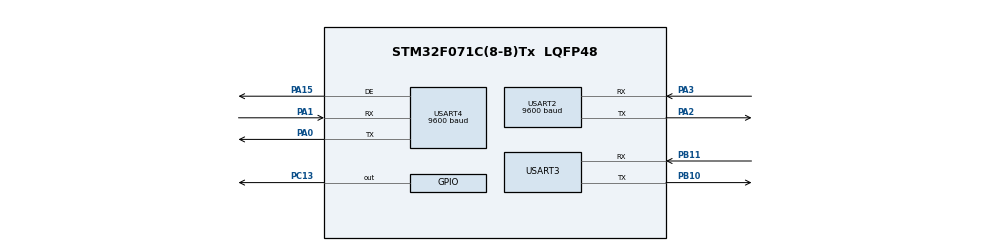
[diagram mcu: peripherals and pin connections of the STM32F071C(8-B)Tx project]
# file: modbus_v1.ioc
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Mcu.Family=STM32F0
Mcu.Name=STM32F071C(8-B)Tx
Mcu.Package=LQFP48
NVIC.TIM2_IRQn=true\:0\:0\:false\:false\:true\:true\:true\:true
NVIC.TIM3_IRQn=true\:0\:0\:false\:false\:true\:true\:true\:true
NVIC.USART2_IRQn=true\:0\:0\:false\:false\:true\:true\:true\:true
NVIC.USART3_4_IRQn=true\:0\:0\:false\:false\:true\:true\:true\:true
PA0.Mode=Asynchronous
PA0.Signal=USART4_TX
PA1.Mode=Asynchronous
PA1.Signal=USART4_RX
PA15.Mode=Hardware Flow Control (RS485)
PA15.Signal=USART4_DE
PA2.Mode=Asynchronous
PA2.Signal=USART2_TX
PA3.Mode=Asynchronous
PA3.Signal=USART2_RX
PB10.Mode=Asynchronous
PB10.Signal=USART3_TX
PB11.Mode=Asynchronous
PB11.Signal=USART3_RX
PC13.Signal=GPIO_Output
ProjectManager.HeapSize=0x200
ProjectManager.StackSize=0x400
ProjectManager.TargetToolchain=CMake
TIM2.Period=999
TIM2.Prescaler=7999
TIM3.Period=1
TIM3.Prescaler=7999
USART2.BaudRate=9600
USART2.VirtualMode-Asynchronous=VM_ASYNC
USART3.VirtualMode-Asynchronous=VM_ASYNC
USART4.BaudRate=9600
USART4.VirtualMode-Asynchronous=VM_ASYNC
USART4.VirtualMode-Hardware\ Flow\ Control\ (RS485)=VM_ASYNC
VP_TIM2_VS_ClockSourceINT.Mode=Internal
VP_TIM3_VS_ClockSourceINT.Mode=Internal
board=custom

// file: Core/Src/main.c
/* USER CODE BEGIN Header */
/**
 ******************************************************************************
 * @file           : main.c
 * @brief          : Main program body
 ******************************************************************************
 * @attention
 *
 * Copyright (c) 2025 STMicroelectronics.
 * All rights reserved.
 *
 * This software is licensed under terms that can be found in the LICENSE file
 * in the root directory of this software component.
 * If no LICENSE file comes with this software, it is provided AS-IS.
 *
 ******************************************************************************
 */
/* USER CODE END Header */
#include "main.h"

TIM_HandleTypeDef htim2;
TIM_HandleTypeDef htim3;

UART_HandleTypeDef huart2;
UART_HandleTypeDef huart3;
UART_HandleTypeDef huart4;
DMA_HandleTypeDef hdma_usart2_rx;
DMA_HandleTypeDef hdma_usart3_rx;
DMA_HandleTypeDef hdma_usart4_rx;

void SystemClock_Config(void);
static void MX_GPIO_Init(void);
static void MX_DMA_Init(void);
static void MX_USART4_UART_Init(void);
static void MX_TIM2_Init(void);
static void MX_TIM3_Init(void);
static void MX_USART2_UART_Init(void);
static void MX_USART3_UART_Init(void);
/* USER CODE BEGIN PFP */
void _Error_Handler(char *file, int line)
{
  printf("-- Error Handle : [%s][%d]\n", file, line);

  while (1)
  {
  }
}
/* USER CODE END PFP */

/* USER CODE BEGIN 0 */
uint8_t src[] = {0, 1, 2, 3, 4, 5, 6, 7, 8, 9};
uint8_t dst[10];
/* USER CODE END 0 */

int main(void)
{

  /* MCU Configuration--------------------------------------------------------*/

  /* Reset of all peripherals, Initializes the Flash interface and the Systick. */
  HAL_Init();

  /* Configure the system clock */
  SystemClock_Config();

  /* Initialize all configured peripherals */
  MX_GPIO_Init();
  MX_DMA_Init();
  MX_USART4_UART_Init();
  MX_TIM2_Init();
  MX_TIM3_Init();
  MX_USART2_UART_Init();
  MX_USART3_UART_Init();
  /* USER CODE BEGIN 2 */
  parser_modbus_init();
  uart_interrut_init();
  timer_init();
  setup_data_init();
  /* USER CODE END 2 */

  /* Infinite loop */
  while (1)
  {
    /* USER CODE BEGIN 3 */
    if (g_tick_sec_1 == ENABLE)
    {
      g_tick_sec_1 = DISABLE;

      parser_modbus_handle();
      sensor_handle();

      // CHECK
      char buffer[50];
      sprintf(buffer, "%lu,%lu,%lu\r\n", g_sensor_current.dust.pm_01_0, g_sensor_current.dust.pm_02_5, g_sensor_current.dust.pm_10_0);
      uint16_t length = strlen(buffer);
      HAL_UART_Transmit(&huart3, (uint8_t *)buffer, length, 1000);
    }

    if (g_timer_ms_1 == ENABLE)
    {
      g_timer_ms_1 = DISABLE;
    }

    // HAL_UART_Transmit(&huart3, (uint8_t *)"Hello, World!\r\n", 15, 1000);
    // HAL_UART_Transmit(&huart2, (uint8_t *)"Hello, World!\r\n", 15, 1000);
    // printf("hi\r\n");
  }
  /* USER CODE END 3 */
}

void SystemClock_Config(void)
{
  RCC_OscInitTypeDef RCC_OscInitStruct = {0};
  RCC_ClkInitTypeDef RCC_ClkInitStruct = {0};
  RCC_PeriphCLKInitTypeDef PeriphClkInit = {0};

  /** Initializes the RCC Oscillators according to the specified parameters
   * in the RCC_OscInitTypeDef structure.
   */
  RCC_OscInitStruct.OscillatorType = RCC_OSCILLATORTYPE_HSI;
  RCC_OscInitStruct.HSIState = RCC_HSI_ON;
  RCC_OscInitStruct.HSICalibrationValue = RCC_HSICALIBRATION_DEFAULT;
  RCC_OscInitStruct.PLL.PLLState = RCC_PLL_NONE;
  if (HAL_RCC_OscConfig(&RCC_OscInitStruct) != HAL_OK)
  {
    Error_Handler();
  }

  /** Initializes the CPU, AHB and APB buses clocks
   */
  RCC_ClkInitStruct.ClockType = RCC_CLOCKTYPE_HCLK | RCC_CLOCKTYPE_SYSCLK | RCC_CLOCKTYPE_PCLK1;
  RCC_ClkInitStruct.SYSCLKSource = RCC_SYSCLKSOURCE_HSI;
  RCC_ClkInitStruct.AHBCLKDivider = RCC_SYSCLK_DIV1;
  RCC_ClkInitStruct.APB1CLKDivider = RCC_HCLK_DIV1;

  if (HAL_RCC_ClockConfig(&RCC_ClkInitStruct, FLASH_LATENCY_0) != HAL_OK)
  {
    Error_Handler();
  }
  PeriphClkInit.PeriphClockSelection = RCC_PERIPHCLK_USART2;
  PeriphClkInit.Usart2ClockSelection = RCC_USART2CLKSOURCE_PCLK1;
  if (HAL_RCCEx_PeriphCLKConfig(&PeriphClkInit) != HAL_OK)
  {
    Error_Handler();
  }
}

static void MX_TIM2_Init(void)
{

  TIM_ClockConfigTypeDef sClockSourceConfig = {0};
  TIM_MasterConfigTypeDef sMasterConfig = {0};

  htim2.Instance = TIM2;
  htim2.Init.Prescaler = 7999;
  htim2.Init.CounterMode = TIM_COUNTERMODE_UP;
  htim2.Init.Period = 999;
  htim2.Init.ClockDivision = TIM_CLOCKDIVISION_DIV1;
  htim2.Init.AutoReloadPreload = TIM_AUTORELOAD_PRELOAD_DISABLE;
  if (HAL_TIM_Base_Init(&htim2) != HAL_OK)
  {
    Error_Handler();
  }
  sClockSourceConfig.ClockSource = TIM_CLOCKSOURCE_INTERNAL;
  if (HAL_TIM_ConfigClockSource(&htim2, &sClockSourceConfig) != HAL_OK)
  {
    Error_Handler();
  }
  sMasterConfig.MasterOutputTrigger = TIM_TRGO_RESET;
  sMasterConfig.MasterSlaveMode = TIM_MASTERSLAVEMODE_DISABLE;
  if (HAL_TIMEx_MasterConfigSynchronization(&htim2, &sMasterConfig) != HAL_OK)
  {
    Error_Handler();
  }
}

static void MX_TIM3_Init(void)
{

  TIM_ClockConfigTypeDef sClockSourceConfig = {0};
  TIM_MasterConfigTypeDef sMasterConfig = {0};

  htim3.Instance = TIM3;
  htim3.Init.Prescaler = 7999;
  htim3.Init.CounterMode = TIM_COUNTERMODE_UP;
  htim3.Init.Period = 0;
  htim3.Init.ClockDivision = TIM_CLOCKDIVISION_DIV1;
  htim3.Init.AutoReloadPreload = TIM_AUTORELOAD_PRELOAD_DISABLE;
  if (HAL_TIM_Base_Init(&htim3) != HAL_OK)
  {
    Error_Handler();
  }
  sClockSourceConfig.ClockSource = TIM_CLOCKSOURCE_INTERNAL;
  if (HAL_TIM_ConfigClockSource(&htim3, &sClockSourceConfig) != HAL_OK)
  {
    Error_Handler();
  }
  sMasterConfig.MasterOutputTrigger = TIM_TRGO_RESET;
  sMasterConfig.MasterSlaveMode = TIM_MASTERSLAVEMODE_DISABLE;
  if (HAL_TIMEx_MasterConfigSynchronization(&htim3, &sMasterConfig) != HAL_OK)
  {
    Error_Handler();
  }
}

static void MX_USART2_UART_Init(void)
{

  huart2.Instance = USART2;
  huart2.Init.BaudRate = 9600;
  huart2.Init.WordLength = UART_WORDLENGTH_8B;
  huart2.Init.StopBits = UART_STOPBITS_1;
  huart2.Init.Parity = UART_PARITY_NONE;
  huart2.Init.Mode = UART_MODE_TX_RX;
  huart2.Init.HwFlowCtl = UART_HWCONTROL_NONE;
  huart2.Init.OverSampling = UART_OVERSAMPLING_16;
  huart2.Init.OneBitSampling = UART_ONE_BIT_SAMPLE_DISABLE;
  huart2.AdvancedInit.AdvFeatureInit = UART_ADVFEATURE_NO_INIT;
  if (HAL_UART_Init(&huart2) != HAL_OK)
  {
    Error_Handler();
  }
}

static void MX_USART3_UART_Init(void)
{

  huart3.Instance = USART3;
  huart3.Init.BaudRate = 9600;
  huart3.Init.WordLength = UART_WORDLENGTH_8B;
  huart3.Init.StopBits = UART_STOPBITS_1;
  huart3.Init.Parity = UART_PARITY_NONE;
  huart3.Init.Mode = UART_MODE_TX_RX;
  huart3.Init.HwFlowCtl = UART_HWCONTROL_NONE;
  huart3.Init.OverSampling = UART_OVERSAMPLING_16;
  huart3.Init.OneBitSampling = UART_ONE_BIT_SAMPLE_DISABLE;
  huart3.AdvancedInit.AdvFeatureInit = UART_ADVFEATURE_NO_INIT;
  if (HAL_UART_Init(&huart3) != HAL_OK)
  {
    Error_Handler();
  }
}

static void MX_USART4_UART_Init(void)
{

  huart4.Instance = USART4;
  huart4.Init.BaudRate = 9600;
  huart4.Init.WordLength = UART_WORDLENGTH_8B;
  huart4.Init.StopBits = UART_STOPBITS_1;
  huart4.Init.Parity = UART_PARITY_NONE;
  huart4.Init.Mode = UART_MODE_TX_RX;
  huart4.Init.HwFlowCtl = UART_HWCONTROL_NONE;
  huart4.Init.OverSampling = UART_OVERSAMPLING_16;
  huart4.Init.OneBitSampling = UART_ONE_BIT_SAMPLE_DISABLE;
  huart4.AdvancedInit.AdvFeatureInit = UART_ADVFEATURE_NO_INIT;
  if (HAL_RS485Ex_Init(&huart4, UART_DE_POLARITY_HIGH, 0, 0) != HAL_OK)
  {
    Error_Handler();
  }
}

static void MX_DMA_Init(void)
{

  /* DMA controller clock enable */
  __HAL_RCC_DMA1_CLK_ENABLE();

  /* DMA interrupt init */
  /* DMA1_Channel2_3_IRQn interrupt configuration */
  HAL_NVIC_SetPriority(DMA1_Channel2_3_IRQn, 0, 0);
  HAL_NVIC_EnableIRQ(DMA1_Channel2_3_IRQn);
  /* DMA1_Channel4_5_6_7_IRQn interrupt configuration */
  HAL_NVIC_SetPriority(DMA1_Channel4_5_6_7_IRQn, 0, 0);
  HAL_NVIC_EnableIRQ(DMA1_Channel4_5_6_7_IRQn);
}

static void MX_GPIO_Init(void)
{
  GPIO_InitTypeDef GPIO_InitStruct = {0};

  /* GPIO Ports Clock Enable */
  __HAL_RCC_GPIOC_CLK_ENABLE();
  __HAL_RCC_GPIOA_CLK_ENABLE();
  __HAL_RCC_GPIOB_CLK_ENABLE();

  /*Configure GPIO pin Output Level */
  HAL_GPIO_WritePin(GPIOC, GPIO_PIN_13, GPIO_PIN_RESET);

  /*Configure GPIO pin : PC13 */
  GPIO_InitStruct.Pin = GPIO_PIN_13;
  GPIO_InitStruct.Mode = GPIO_MODE_OUTPUT_PP;
  GPIO_InitStruct.Pull = GPIO_NOPULL;
  GPIO_InitStruct.Speed = GPIO_SPEED_FREQ_LOW;
  HAL_GPIO_Init(GPIOC, &GPIO_InitStruct);

}

void Error_Handler(void)
{
  __disable_irq();
  while (1)
  {
  }
}
